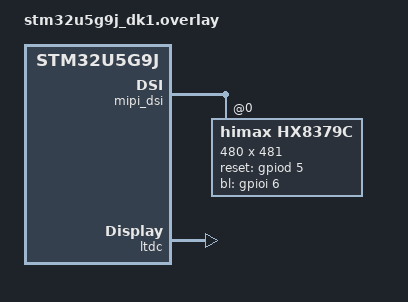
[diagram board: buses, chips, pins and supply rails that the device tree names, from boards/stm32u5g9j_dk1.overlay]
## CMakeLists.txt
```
cmake_minimum_required(VERSION 3.20.0)

find_package(Zephyr REQUIRED HINTS $ENV{ZEPHYR_BASE})
project(mipi_dsi_stm32)

target_sources(app PRIVATE
    src/main.c
)
```

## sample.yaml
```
sample:
  name: MIPI DSI STM32 HAL Sample
  description: >
    Sample application demonstrating MIPI DSI functionality using STM32 HAL
    on the STM32U5G9J-DK1 board. This sample initializes the DSI host,
    LTDC controller, and DMA2D, then displays a simple test pattern.
tests:
  sample.drivers.mipi_dsi.stm32:
    tags:
      - display
      - mipi_dsi
      - stm32
      - hal
    integration_platforms:
      - stm32u5g9j_dk1
    platform_allow:
      - stm32u5g9j_dk1
    harness: console
    harness_config:
      type: one_line
      regex:
        - "Display subsystem initialized successfully!"
```

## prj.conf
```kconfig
# Enable logging
CONFIG_LOG=y
CONFIG_LOG_BUFFER_SIZE=8192

# Main thread configuration
CONFIG_MAIN_STACK_SIZE=8192

# Heap memory pool configuration
CONFIG_HEAP_MEM_POOL_SIZE=65536

# Display configuration
CONFIG_DISPLAY=y
CONFIG_MIPI_DSI=y
CONFIG_STM32_LTDC_ARGB8888=y
# CONFIG_DISPLAY_INIT_PRIORITY=85
# CONFIG_MIPI_DSI_INIT_PRIORITY=86
CONFIG_DISPLAY_HX8379C_INIT_PRIORITY=87

# CONFIG_ARM_MPU=n

# CONFIG_MIPI_DSI_LOG_LEVEL_DBG=y
# CONFIG_DISPLAY_LOG_LEVEL_DBG=y

# CONFIG_DEBUG_OPTIMIZATIONS=y
```

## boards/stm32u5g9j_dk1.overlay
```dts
/*
 * Copyright (c) 2025 Charles Dias
 *
 * SPDX-License-Identifier: Apache-2.0
 */

/* Board-specific configuration for STM32U5G9J-DK1 MIPI DSI sample */

#include <zephyr/dt-bindings/display/panel.h>
#include <zephyr/dt-bindings/mipi_dsi/mipi_dsi.h>

/ {
	chosen {
		zephyr,display = &ltdc;
	};
};

/* PLL3 configuration for DSI - based on STM32CubeU5 working configuration */
&pll3 {
	div-m = <4>;    /* Input divider: 16MHz / 4 = 4MHz */
	mul-n = <125>;  /* Multiplier: 4MHz * 125 = 500MHz VCO */
	div-p = <8>;    /* P output: 500MHz / 8 = 62.5MHz (for DSI pixel clock) */
	div-q = <2>;    /* Q output: 500MHz / 2 = 250MHz */
	div-r = <24>;   /* R output: 500MHz / 24 = 20.83MHz (for LTDC) */
	clocks = <&clk_hse>;
	status = "okay";
};

&mipi_dsi {
	status = "okay";

	/* DSI PLL configuration - values from STM32CubeU5 working config */
	pll-ndiv = <125>;       /* PLLDSINDIV = 125 */
	pll-idf = <4>;          /* DSI_PLL_IN_DIV4 */
	pll-odf = <2>;          /* DSI_PLL_OUT_DIV2 */
	pll-vco-range = <1>;    /* DSI_DPHY_VCO_FRANGE_800MHZ_1GHZ */
	pll-charge-pump = <0>;  /* DSI_PLL_CHARGE_PUMP_2000HZ_4400HZ */
	pll-tuning = <0>;       /* DSI_PLL_LOOP_FILTER_2000HZ_4400HZ */

	phy-freq-range = <8>;       /* DSI_DPHY_FRANGE_450MHZ_510MHZ */
	phy-low-power-offset = <0>; /* PHY_LP_OFFSSET_0_CLKP */

	/* DSI signal polarity configuration matching STM32CubeU5 */
	hs-active-high;       /* Horizontal sync active high */
	vs-active-high;       /* Vertical sync active high */
	de-active-high;       /* Data enable active high */
	largest-packet-size = <0>;

	/* DSI HOST timeout parameters - based on STM32CubeU5 DSI_VideoMode_SingleBuffer */
	host-timeouts = <1>,     /* TimeoutCkdiv = 1 */
	                <0>,     /* HighSpeedTransmissionTimeout = 0 (default/disabled) */
	                <0>,     /* LowPowerReceptionTimeout = 0 (default/disabled) */
	                <0>,     /* HighSpeedReadTimeout = 0 (default/disabled) */
	                <0>,     /* LowPowerReadTimeout = 0 (default/disabled) */
	                <0>,     /* HighSpeedWriteTimeout = 0 (default/disabled) */
	                <0>,     /* HighSpeedWritePrespMode = 0 (DSI_HS_PM_DISABLE) */
	                <0>,     /* LowPowerWriteTimeout = 0 (default/disabled) */
	                <0>;     /* BTATimeout = 0 (default/disabled) */

	/* DSI HOST timing parameters from STM32CubeU5 working configuration */
	phy-timings = <11>,   /* ClockLaneHS2LPTime = 11 */
	              <40>,   /* ClockLaneLP2HSTime = 40 */
	              <12>,   /* DataLaneHS2LPTime = 12 */
	              <23>,   /* DataLaneLP2HSTime = 23 */
	              <0>,    /* DataLaneMaxReadTime = 0 (default) */
	              <7>;    /* StopWaitTime = 7 */

	/* HX8379C panel configuration for STM32U5G9J-DK1 */
	hx8379c: hx8379c@0 {
		status = "okay";
		compatible = "himax,hx8379c";
		reg = <0>; /* Virtual channel 0 */

		/* Panel specifications - matching STM32CubeU5 exactly */
		width = <480>;
		height = <481>;  /* Must match LTDC height for STM32CubeU5 compatibility */

		/* DSI configuration matching STM32CubeU5 working example */
		data-lanes = <2>; /* DSI_TWO_DATA_LANES = 1 in STM32 HAL */
		pixel-format = <MIPI_DSI_PIXFMT_RGB888>;
		rotation = <0>;

		reset-gpios = <&gpiod 5 GPIO_ACTIVE_HIGH>;  /* PD5 - confirmed from STM32 DSI example */
		bl-gpios = <&gpioi 6 GPIO_ACTIVE_HIGH>;    /* PI6 - confirmed from STM32 DSI example */

		display-timings {
			compatible = "zephyr,panel-timing";
			hsync-active = <0>;
			vsync-active = <0>;
			de-active = <0>;
			pixelclk-active = <0>;
			hsync-len = <2>;
			hback-porch = <1>;
			hfront-porch = <1>;
			vsync-len = <1>;
			vback-porch = <12>;
			vfront-porch = <50>;
		};
	};
};

&ltdc {
	width = <480>;
	height = <481>;
	pixel-format = <0>; /* LTDC_PIXEL_FORMAT_ARGB8888 */
	status = "okay";

	def-back-color-red = <0>;
	def-back-color-green = <0>;
	def-back-color-blue = <0>;

	/* himax,hx8379c */
	display-timings {
		compatible = "zephyr,panel-timing";
		hsync-active = <1>;
		vsync-active = <1>;
		de-active = <0>;
		pixelclk-active = <0>;
		hsync-len = <2>;
		vsync-len = <1>;
		hback-porch = <1>;
		vback-porch = <12>;
		hfront-porch = <1>;
		vfront-porch = <50>;
	};
};
```

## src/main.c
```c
/*
 * Copyright (c) 2025 Charles Dias
 *
 * SPDX-License-Identifier: Apache-2.0
 */

#include <zephyr/kernel.h>
#include <zephyr/device.h>
#include <zephyr/drivers/gpio.h>
#include <zephyr/drivers/display.h>
#include <zephyr/sys/printk.h>
#include <zephyr/logging/log.h>

LOG_MODULE_REGISTER(dsi_minimal, LOG_LEVEL_INF);

/* Global display parameters - will be set from device capabilities */
static uint32_t lcd_width = 0;
static uint32_t lcd_height = 0;
static uint32_t *framebuffer = NULL;

/* Forward declarations */
static void demo_pattern(void);
static void fill_rect(uint32_t x, uint32_t y, uint32_t width, uint32_t height, uint32_t color);

/* Get the display device using Zephyr device tree */
static const struct device *get_display_device(void)
{
	const struct device *dev = DEVICE_DT_GET(DT_CHOSEN(zephyr_display));

	if (!dev) {
		LOG_ERR("No display device found in device tree");
		return NULL;
	}

	if (!device_is_ready(dev)) {
		LOG_ERR("Display device not ready");
		return NULL;
	}

	LOG_INF("Found display device: %s", dev->name);
	return dev;
}

/* Fill a rectangular area with color */
static void fill_rect(uint32_t x, uint32_t y, uint32_t width, uint32_t height, uint32_t color)
{
	if (!framebuffer) {
		LOG_ERR("Framebuffer not available");
		return;
	}

	for (uint32_t row = y; row < y + height && row < lcd_height; row++) {
		for (uint32_t col = x; col < x + width && col < lcd_width; col++) {
			framebuffer[row * lcd_width + col] = color;
		}
	}
}

/* Vertical color bar demo pattern */
static void demo_pattern(void)
{
	static uint32_t frame_count = 0;
	uint32_t colors[] = {
		0xFFFF0000,  /* Blue */
		0xFF00FF00,  /* Green */
		0xFF0000FF,  /* Red */
		0xFFFFFF00,  /* Cyan */
		0xFFFF00FF,  /* Magenta */
		0xFF00FFFF,  /* Yellow */
		0xFFFFFFFF,  /* White */
		0xFF808080   /* Gray */
	};
	uint32_t num_colors = sizeof(colors) / sizeof(colors[0]);
	uint32_t bar_width = lcd_width / num_colors;
	uint32_t i, start_x, end_x, color_index;

	if (!framebuffer || lcd_width == 0 || lcd_height == 0) {
		LOG_ERR("Display parameters not initialized");
		return;
	}

	/* Draw vertical color bars */
	for (i = 0; i < num_colors; i++) {
		start_x = i * bar_width;
		end_x = (i + 1) * bar_width;

		/* Handle the last bar to fill remaining pixels */
		if (i == num_colors - 1) {
			end_x = lcd_width;
		}

		color_index = (i + frame_count) % num_colors;
		fill_rect(start_x, 0, end_x - start_x, lcd_height, colors[color_index]);
	}

	frame_count++;
}

int main(void)
{
	const struct device *display_dev;
	struct display_capabilities caps;

	LOG_INF("STM32U5G9J-DK1 DSI Generic Driver Application Starting...");

	/* Get the display device */
	display_dev = get_display_device();
	if (!display_dev) {
		LOG_ERR("Display device not found");
		return -ENODEV;
	}

	/* Check if device is ready */
	if (!device_is_ready(display_dev)) {
		LOG_ERR("Display device is not ready");
		return -ENODEV;
	}

	/* Get display capabilities and set global parameters */
	display_get_capabilities(display_dev, &caps);
	lcd_width = caps.x_resolution;
	lcd_height = caps.y_resolution;

	/* Get framebuffer from display device */
	framebuffer = (uint32_t *)display_get_framebuffer(display_dev);

	LOG_INF("Display capabilities:");
	LOG_INF("  Resolution: %dx%d", caps.x_resolution, caps.y_resolution);
	LOG_INF("  Pixel format: 0x%08X", caps.current_pixel_format);
	LOG_INF("  Orientation: %d", caps.current_orientation);
	LOG_INF("  Framebuffer: 0x%08X", (uint32_t)framebuffer);

	if (!framebuffer) {
		LOG_ERR("Failed to get framebuffer from display device");
		return -ENODEV;
	}

	/* Turn off blanking (turn on display) */
	// if (display_blanking_off(display_dev) != 0) {
	// 	LOG_WRN("Failed to turn off display blanking");
	// }

	LOG_INF("Display subsystem initialized successfully!");
	LOG_INF("Running demo pattern...");

	/* Main application loop */
	while (1) {
		demo_pattern();

		/* Wait 3 seconds between pattern changes */
		k_sleep(K_SECONDS(3));
	}

	return 0;
}
```
